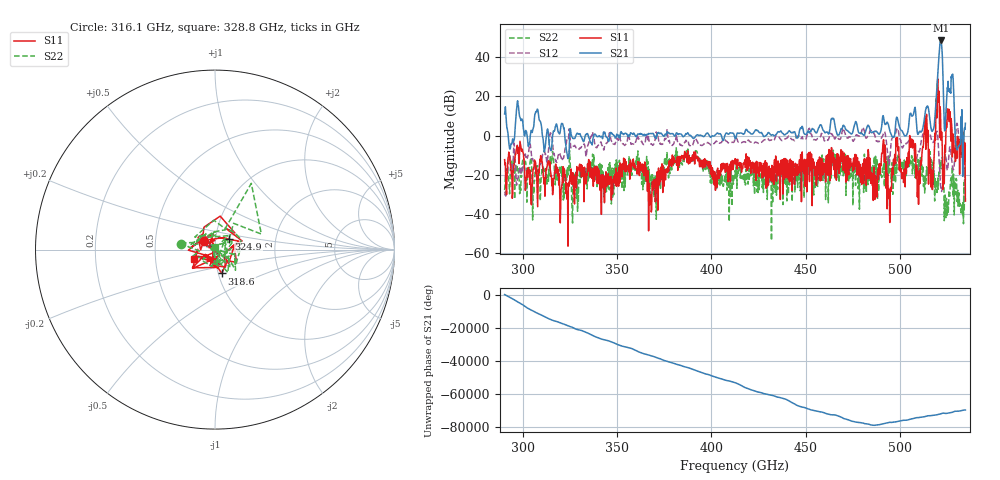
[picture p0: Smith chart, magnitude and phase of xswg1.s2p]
!Created with skrf (http://scikit-rf.org).
# GHz S RI R 50.0
!freq ReS11 ImS11 ReS21 ImS21 ReS12 ImS12 ReS22 ImS22
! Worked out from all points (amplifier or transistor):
!   1201 points, 290 GHz to 535 GHz, reference 50 ohm
!   highest |S21| = 48.4 dB at 521.9 GHz (marker M1)
!   |S21| within 3 dB of that: 521.3529 GHz to 522.411 GHz (1.058 GHz wide, 0.203 % of centre)
!   unconditionally stable (mu >= 1): 298.4 GHz to 315.3 GHz; 315.6 GHz to 324.4 GHz; 325 GHz to 336.7 GHz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
!   at 330.8 GHz: K = 1.27, MAG = -0.6 dB, |S12| = -5.7 dB
!   at 412.5 GHz: K = 1.01, MAG = -0.3 dB, |S12| = -1.9 dB
!   at 535 GHz: K = 1.00, MSG = 5.8 dB, |S12| = -5.4 dB
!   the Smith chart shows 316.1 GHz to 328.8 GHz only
!   S11 on the Smith chart (normalised r, x): 316.1 GHz: 0.88, +0.09; 318.6 GHz: 1.04, -0.28; 324.9 GHz: 1.16, +0.14; 328.8 GHz: 0.78, -0.08
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290  -3.03e-05 0.2437  -1.297 3.321  -0.0249 -0.0192  -0.00635 -0.0405
316.1333  -0.0632 0.0499  -1.27 -0.1468  -0.2163 -0.2598  -0.1876 0.0304
318.5833  0.0373 -0.1328  0.1113 1.202  0.2406 0.2144  0.0567 0.1101
324.9125  0.0776 0.0596  -1.449 -0.4277  0.6877 0.138  0.1034 0.1467
328.7917  -0.1188 -0.0519  -0.1668 -1.134  0.0723 -0.4435  0.000291 0.0119
331.0375  0.0947 0.1467  0.8775 0.051  -0.5432 0.00535  -0.1602 -0.0257
371.6667  0.0207 0.103  -0.7254 -0.9442  -0.6723 -0.5433  0.0589 -0.0251
412.5  0.2055 -0.1511  0.7248 -0.4613  0.7719 -0.2348  0.0362 0.1222
453.5375  -0.00703 0.0148  1.441 -0.4905  -0.9212 0.0656  0.0147 0.0717
494.1667  -0.00777 -0.0285  -0.1177 1.822  -0.2056 0.0514  -0.0844 -0.1511
519.075  0.2435 -0.7311  -4.024 -1.748  -0.8421 0.4961  -0.0679 0.00276
519.8917  -0.7779 2.711  13.76 11.6  0.7181 1.072  -0.0103 0.0342
520.3  18.96 20.47  -39.34 1.244  -0.9504 0.1073  -0.0224 0.0798
520.7083  -6.551 2.74  7.918 -73.21  0.3412 -0.3154  -0.049 0.0408
521.1167  0.6345 7.637  127 -41.06  -0.0645 0.1879  0.0571 0.1042
521.9333  1.118 0.8839  -14.24 -264.1  -0.033 -0.0313  0.0643 0.1268
522.75  0.2423 -0.3266  -100 -26.01  0.0473 -0.0143  -0.0841 0.2663
523.1583  0.1787 0.0322  -0.5436 -23.86  -0.0113 0.0801  -0.051 0.0449
523.3625  0.0731 -0.1559  1.697 -9.041  0.1016 -0.0329  -0.106 0.0414
523.7708  -0.0232 -0.0568  -0.7212 -1.505  -0.1407 0.1209  0.00493 0.00474
526.8333  -1.964 -3.55  -13.27 -4.385  0.0248 -0.5193  -0.0279 -0.0359
535  0.00503 0.0209  1.277 1.622  0.5229 -0.1253  0.0381 0.0566
